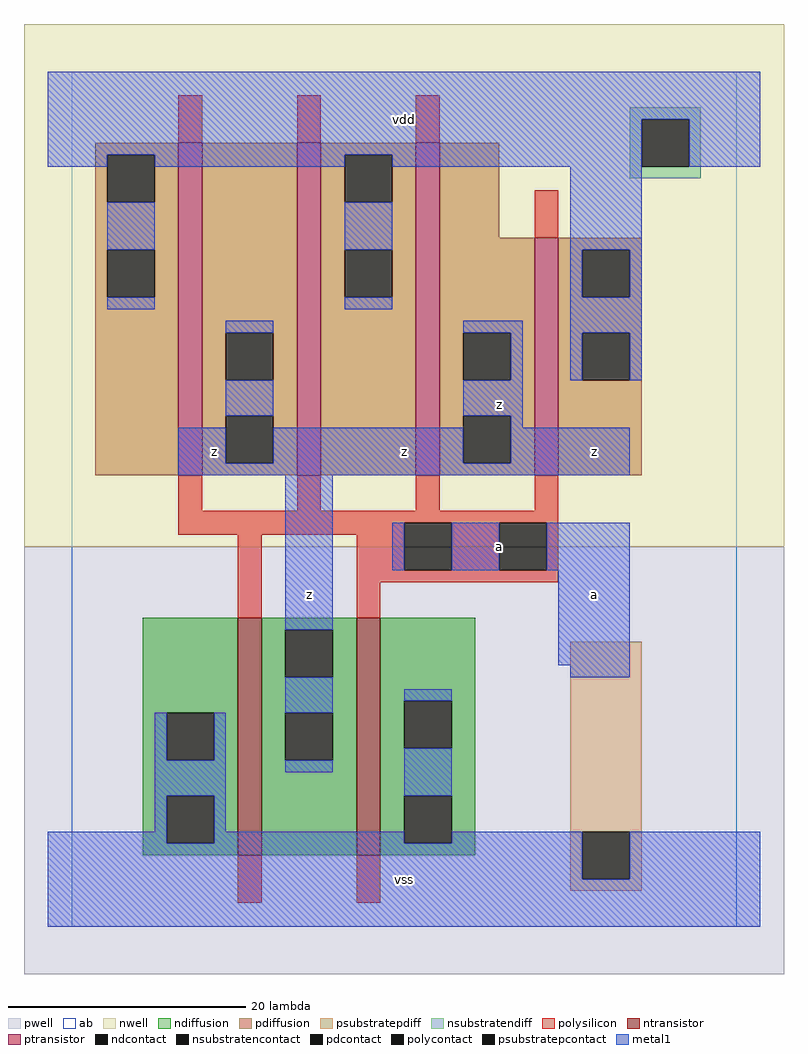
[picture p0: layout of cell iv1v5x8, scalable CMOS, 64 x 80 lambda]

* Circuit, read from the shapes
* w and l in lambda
.subckt iv1v5x8 a vdd vss z
M1 z a vss vss nfet w=20 l=2 m=2
M2 z a vdd vdd pfet w=28 l=2 m=3
M3 vdd a z vdd pfet w=20 l=2
.ends

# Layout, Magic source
magic
tech scmos
<< ab >>
rect 0 0 56 72
<< pwell >>
rect -4 -4 60 32
<< nwell >>
rect -4 32 60 76
<< polysilicon >>
rect 9 66 11 70
rect 19 66 21 70
rect 29 66 31 70
rect 39 58 41 62
rect 9 35 11 38
rect 19 35 21 38
rect 29 35 31 38
rect 39 35 41 38
rect 9 34 41 35
rect 9 33 28 34
rect 14 26 16 33
rect 24 30 28 33
rect 32 30 36 34
rect 40 30 41 34
rect 24 29 41 30
rect 24 26 26 29
rect 14 2 16 6
rect 24 2 26 6
<< ndiffusion >>
rect 6 18 14 26
rect 6 14 8 18
rect 12 14 14 18
rect 6 11 14 14
rect 6 7 8 11
rect 12 7 14 11
rect 6 6 14 7
rect 16 25 24 26
rect 16 21 18 25
rect 22 21 24 25
rect 16 18 24 21
rect 16 14 18 18
rect 22 14 24 18
rect 16 6 24 14
rect 26 19 34 26
rect 26 15 28 19
rect 32 15 34 19
rect 26 11 34 15
rect 26 7 28 11
rect 32 7 34 11
rect 26 6 34 7
<< pdiffusion >>
rect 2 65 9 66
rect 2 61 3 65
rect 7 61 9 65
rect 2 57 9 61
rect 2 53 3 57
rect 7 53 9 57
rect 2 38 9 53
rect 11 50 19 66
rect 11 46 13 50
rect 17 46 19 50
rect 11 43 19 46
rect 11 39 13 43
rect 17 39 19 43
rect 11 38 19 39
rect 21 65 29 66
rect 21 61 23 65
rect 27 61 29 65
rect 21 57 29 61
rect 21 53 23 57
rect 27 53 29 57
rect 21 38 29 53
rect 31 58 36 66
rect 31 50 39 58
rect 31 46 33 50
rect 37 46 39 50
rect 31 43 39 46
rect 31 39 33 43
rect 37 39 39 43
rect 31 38 39 39
rect 41 57 48 58
rect 41 53 43 57
rect 47 53 48 57
rect 41 50 48 53
rect 41 46 43 50
rect 47 46 48 50
rect 41 38 48 46
<< metal1 >>
rect -2 68 58 72
rect -2 65 48 68
rect -2 64 3 65
rect 7 64 23 65
rect 3 57 7 61
rect 3 52 7 53
rect 27 64 48 65
rect 52 64 58 68
rect 23 57 27 61
rect 23 52 27 53
rect 42 57 48 64
rect 42 53 43 57
rect 47 53 48 57
rect 13 50 17 51
rect 13 43 17 46
rect 9 39 13 42
rect 33 50 38 51
rect 37 46 38 50
rect 42 50 48 53
rect 42 46 43 50
rect 47 46 48 50
rect 33 43 38 46
rect 17 39 33 42
rect 37 42 38 43
rect 37 39 47 42
rect 9 38 47 39
rect 18 25 22 38
rect 27 30 28 34
rect 32 30 36 34
rect 40 30 47 34
rect 41 22 47 30
rect 42 21 47 22
rect 18 18 22 21
rect 7 14 8 18
rect 12 14 13 18
rect 7 11 13 14
rect 18 13 22 14
rect 28 19 32 20
rect 7 8 8 11
rect -2 7 8 8
rect 12 8 13 11
rect 28 11 32 15
rect 12 7 28 8
rect 32 7 43 8
rect -2 4 43 7
rect 47 4 58 8
rect -2 0 58 4
<< ntransistor >>
rect 14 6 16 26
rect 24 6 26 26
<< ptransistor >>
rect 9 38 11 66
rect 19 38 21 66
rect 29 38 31 66
rect 39 38 41 58
<< polycontact >>
rect 28 30 32 34
rect 36 30 40 34
<< ndcontact >>
rect 8 14 12 18
rect 8 7 12 11
rect 18 21 22 25
rect 18 14 22 18
rect 28 15 32 19
rect 28 7 32 11
<< pdcontact >>
rect 3 61 7 65
rect 3 53 7 57
rect 13 46 17 50
rect 13 39 17 43
rect 23 61 27 65
rect 23 53 27 57
rect 33 46 37 50
rect 33 39 37 43
rect 43 53 47 57
rect 43 46 47 50
<< psubstratepcontact >>
rect 43 4 47 8
<< nsubstratencontact >>
rect 48 64 52 68
<< psubstratepdiff >>
rect 42 8 48 24
rect 42 4 43 8
rect 47 4 48 8
rect 42 3 48 4
<< nsubstratendiff >>
rect 47 68 53 69
rect 47 64 48 68
rect 52 64 53 68
rect 47 63 53 64
<< labels >>
rlabel metal1 20 28 20 28 6 z
rlabel metal1 12 40 12 40 6 z
rlabel metal1 28 4 28 4 6 vss
rlabel metal1 36 32 36 32 6 a
rlabel metal1 28 40 28 40 6 z
rlabel metal1 36 44 36 44 6 z
rlabel metal1 28 68 28 68 6 vdd
rlabel metal1 44 28 44 28 6 a
rlabel metal1 44 40 44 40 6 z
<< end >>
